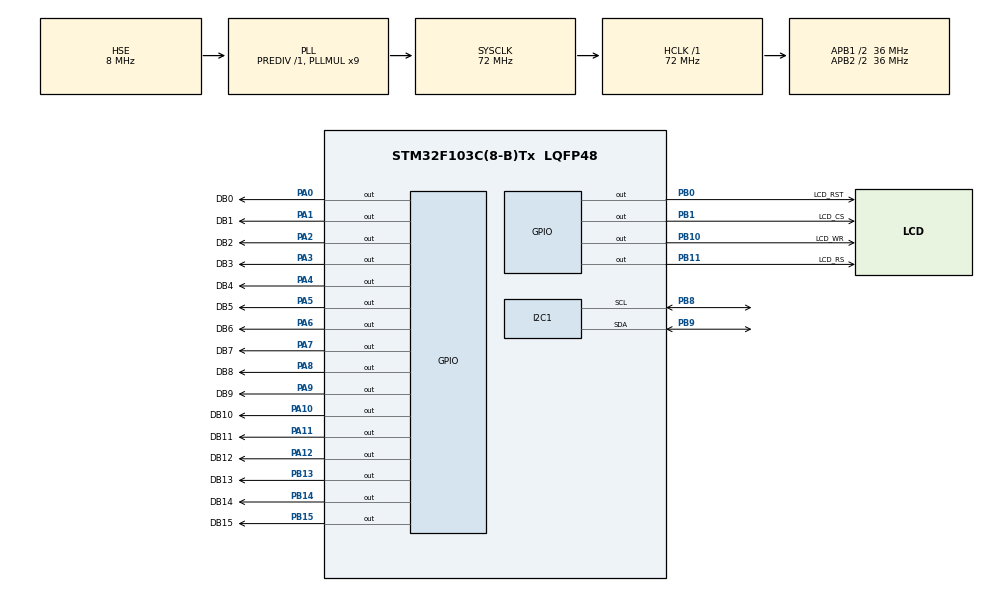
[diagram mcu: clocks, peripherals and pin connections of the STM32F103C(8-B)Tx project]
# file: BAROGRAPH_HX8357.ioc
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Mcu.Family=STM32F1
Mcu.Name=STM32F103C(8-B)Tx
Mcu.Package=LQFP48
NVIC.PriorityGroup=NVIC_PRIORITYGROUP_4
PA0-WKUP.GPIO_Label=DB0
PA0-WKUP.Signal=GPIO_Output
PA1.GPIO_Label=DB1
PA1.Signal=GPIO_Output
PA10.GPIO_Label=DB10
PA10.Signal=GPIO_Output
PA11.GPIO_Label=DB11
PA11.Signal=GPIO_Output
PA12.GPIO_Label=DB12
PA12.Signal=GPIO_Output
PA13.Mode=Serial_Wire
PA13.Signal=SYS_JTMS-SWDIO
PA14.Mode=Serial_Wire
PA14.Signal=SYS_JTCK-SWCLK
PA2.GPIO_Label=DB2
PA2.Signal=GPIO_Output
PA3.GPIO_Label=DB3
PA3.Signal=GPIO_Output
PA4.GPIO_Label=DB4
PA4.Signal=GPIO_Output
PA5.GPIO_Label=DB5
PA5.Signal=GPIO_Output
PA6.GPIO_Label=DB6
PA6.Signal=GPIO_Output
PA7.GPIO_Label=DB7
PA7.Signal=GPIO_Output
PA8.GPIO_Label=DB8
PA8.Signal=GPIO_Output
PA9.GPIO_Label=DB9
PA9.Signal=GPIO_Output
PB0.GPIO_Label=LCD_RST
PB0.Signal=GPIO_Output
PB1.GPIO_Label=LCD_CS
PB1.Signal=GPIO_Output
PB10.GPIO_Label=LCD_WR
PB10.Signal=GPIO_Output
PB11.GPIO_Label=LCD_RS
PB11.Signal=GPIO_Output
PB13.GPIO_Label=DB13
PB13.Signal=GPIO_Output
PB14.GPIO_Label=DB14
PB14.Signal=GPIO_Output
PB15.GPIO_Label=DB15
PB15.Signal=GPIO_Output
PB8.GPIO_Pu=GPIO_PULLUP
PB8.Mode=I2C
PB8.Signal=I2C1_SCL
PB9.GPIO_Pu=GPIO_PULLUP
PB9.Mode=I2C
PB9.Signal=I2C1_SDA
PD0-OSC_IN.Mode=HSE-External-Oscillator
PD0-OSC_IN.Signal=RCC_OSC_IN
PD1-OSC_OUT.Mode=HSE-External-Oscillator
PD1-OSC_OUT.Signal=RCC_OSC_OUT
ProjectManager.HeapSize=0x200
ProjectManager.StackSize=0x400
ProjectManager.TargetToolchain=STM32CubeIDE
RCC.AHBFreq_Value=72000000
RCC.APB1CLKDivider=RCC_HCLK_DIV2
RCC.APB1Freq_Value=36000000
RCC.APB1TimFreq_Value=72000000
RCC.APB2CLKDivider=RCC_HCLK_DIV2
RCC.APB2Freq_Value=36000000
RCC.APB2TimFreq_Value=72000000
RCC.HCLKFreq_Value=72000000
RCC.PLLMUL=RCC_PLL_MUL9
RCC.PLLSourceVirtual=RCC_PLLSOURCE_HSE
RCC.SYSCLKFreq_VALUE=72000000
RCC.SYSCLKSource=RCC_SYSCLKSOURCE_PLLCLK
RCC.USBFreq_Value=72000000
board=custom

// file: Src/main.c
/* USER CODE BEGIN Header */
/**
  ******************************************************************************
  * @file           : main.c
  * @brief          : Main program body
  ******************************************************************************
  * @attention
  *
  * Copyright (c) 2024 STMicroelectronics.
  * All rights reserved.
  *
  * This software is licensed under terms that can be found in the LICENSE file
  * in the root directory of this software component.
  * If no LICENSE file comes with this software, it is provided AS-IS.
  *
  ******************************************************************************
  */
/* USER CODE END Header */
#include "main.h"

/* USER CODE BEGIN Includes */
#include "hx8357.h"
#include "bme280.h"
#include "ds3231.h"

#include "fonts/Font_3_Tiny.h"
#include "fonts/Font_3_PicoPixel.h"
#include "fonts/Font_3_TomThumb_Extended.h"
#include "fonts/Font_5_Org.h"
#include "fonts/Font_8_Sinclair.h"
#include "fonts/Font_8_Sinclair_Inverted.h"
#include "fonts/Font_8_Tiny.h"
#include "fonts/Font_8_Myke.h"
#include "fonts/Font_8_Default.h"
#include "fonts/Font_8_Retro.h"
#include "fonts/Font_9_Mono.h"
#include "fonts/Font_9_Mono_Bold.h"
#include "fonts/Font_9_Mono_Bold_Oblique.h"
#include "fonts/Font_9_Mono_Oblique.h"
#include "fonts/Font_9_Sans.h"
#include "fonts/Font_9_Sans_Bold.h"
#include "fonts/Font_9_Sans_Bold_Oblique.h"
#include "fonts/Font_9_Sans_Oblique.h"
#include "fonts/Font_9_Serif.h"
#include "fonts/Font_9_Serif_Bold.h"
#include "fonts/Font_9_Serif_Bold_Italic.h"
#include "fonts/Font_9_Serif_Italic.h"
#include "fonts/Font_12_Mono.h"
#include "fonts/Font_12_Mono_Bold.h"
#include "fonts/Font_12_Mono_Bold_Oblique.h"
#include "fonts/Font_12_Mono_Oblique.h"
#include "fonts/Font_12_Sans.h"
#include "fonts/Font_12_Sans_Bold.h"
#include "fonts/Font_12_Sans_Bold_Oblique.h"
#include "fonts/Font_12_Sans_Oblique.h"
#include "fonts/Font_12_Serif.h"
#include "fonts/Font_12_Serif_Bold.h"
#include "fonts/Font_12_Serif_Bold_Italic.h"
#include "fonts/Font_12_Serif_Italic.h"
#include "fonts/Font_16_Arial.h"
#include "fonts/Font_16_Arial_Bold.h"
#include "fonts/Font_16_Arial_Italic.h"
#include "fonts/Font_16_Default.h"
#include "fonts/Font_16_FranklinGothic.h"
#include "fonts/Font_16_Hallfetica.h"
#include "fonts/Font_16_Nadianne.h"
#include "fonts/Font_16_Sinclair.h"
#include "fonts/Font_16_Sinclair_Inverted.h"
#include "fonts/Font_16_Swiss_Outline.h"
#include "fonts/Font_16_Matrix_Full.h"
#include "fonts/Font_16_Matrix_Full_Slash.h"
#include "fonts/Font_16_Matrix_Num.h"
#include "fonts/Font_16_Arial_Round.h"
#include "fonts/Font_16_OCR.h"
#include "fonts/Font_16_Segment_16_Full.h"
#include "fonts/Font_16_Grotesk.h"
#include "fonts/Font_16_Grotesk_Bold.h"
#include "fonts/Font_16_Retro.h"
#include "fonts/Font_18_Mono.h"
#include "fonts/Font_18_Mono_Bold.h"
#include "fonts/Font_18_Mono_Bold_Oblique.h"
#include "fonts/Font_18_Mono_Oblique.h"
#include "fonts/Font_18_Sans.h"
#include "fonts/Font_18_Sans_Bold.h"
#include "fonts/Font_18_Sans_Bold_Oblique.h"
#include "fonts/Font_18_Sans_Oblique.h"
#include "fonts/Font_18_Serif.h"
#include "fonts/Font_18_Serif_Bold.h"
#include "fonts/Font_18_Serif_Bold_Italic.h"
#include "fonts/Font_18_Serif_Italic.h"
#include "fonts/Font_24_Matrix_Num.h"
#include "fonts/Font_24_Inconsola.h"
#include "fonts/Font_24_Ubuntu.h"
#include "fonts/Font_24_Ubuntu_Bold.h"
#include "fonts/Font_24_Segment_16_Full.h"
#include "fonts/Font_24_Mono.h"
#include "fonts/Font_24_Mono_Bold.h"
#include "fonts/Font_24_Mono_Bold_Oblique.h"
#include "fonts/Font_24_Mono_Oblique.h"
#include "fonts/Font_24_Grotesk.h"
#include "fonts/Font_24_Grotesk_Bold.h"
#include "fonts/Font_24_Sans.h"
#include "fonts/Font_24_Sans_Bold.h"
#include "fonts/Font_24_Sans_Bold_Oblique.h"
#include "fonts/Font_24_Sans_Oblique.h"
#include "fonts/Font_24_Serif.h"
#include "fonts/Font_24_Serif_Bold.h"
#include "fonts/Font_24_Serif_Bold_Italic.h"
#include "fonts/Font_24_SerifItalic.h"
#include "fonts/Font_32_Dingbats.h"
#include "fonts/Font_32_Special.h"
#include "fonts/Font_32_Calibri_Bold.h"
#include "fonts/Font_32_Arial_Num_Plus.h"
#include "fonts/Font_32_Matrix_Num.h"
#include "fonts/Font_32_Segment_7_Full.h"
#include "fonts/Font_32_Segment_7_Num_Plus.h"
#include "fonts/Font_32_Segment_16_Full.h"
#include "fonts/Font_32_Segment_18_Full.h"
#include "fonts/Font_32_Grotesk.h"
#include "fonts/Font_32_Grotesk_Bold.h"
#include "fonts/Font_40_Segment_16_Full.h"
#include "fonts/Font_48_Battery.h"
#include "fonts/Font_48_Segment_16_Num.h"
#include "fonts/Font_64_Segment_16_Num.h"
#include "fonts/Font_64_Segment_7_Num.h"
//#include "fonts/Font_96_Segment_7_Num.h"
//#include "fonts/Font_96_Segment_16_Num.h"
//#include "fonts/Font_128_Segment_16_Num.h"
/* USER CODE END Includes */

I2C_HandleTypeDef hi2c1;

/* USER CODE BEGIN PV */

uint8_t  rtcSet = 1, clearEEPROM = 0, barographViewed = 0, sound = 1, printAlarm = 0, alarm1 = 0;
uint8_t rtcSec, rtcMin, rtcHrs, rtcDay, rtcDate, rtcMonth, rtcYear,
rtcSecA1, rtcMinA1, rtcHrsA1, rtcDayA1, rtcDateA1, rtcMinA2, rtcHrsA2, rtcDayA2, rtcDateA2;
uint16_t touchX, touchY;
uint8_t rtcSecLast = 61, rtcMinLast = 61, rtcHrsLast = 25, rtcDayLast, rtcDateLast, rtcMonthLast, rtcYearLast;
uint16_t pressure, pressureLast;
double temperatureLast, humidityLast, temperature, humidity,
temperatureRemote, temperatureRemoteLast, humidityRemote, humidityRemoteLast, rtcMoon, rtcMoonLast;
uint64_t startHistory;

uint16_t barographHourly[367] = { 25 };
uint16_t barographDaily[367];
uint16_t barographMinimum = 0, barographMaximum = 0, barographAverage = 0;

//float temperature = 0.0, humidity = 0.0, pressure = 0.0;

uint8_t sec = 0, min = 0, hour = 0, day = 0, date = 0, month = 0, year = 0, a1sec = 0, a1min = 0, a1hour = 0, a1day = 0, a1date = 0, a2min = 0, a2hour = 0, a2day = 0, a2date = 0,
power = 0, set = 0, temperatureAfterpoint;

uint64_t milliseconds, updateRTC, updateUART;
/* USER CODE END PV */

void SystemClock_Config(void);
static void MX_GPIO_Init(void);
static void MX_I2C1_Init(void);

/* USER CODE BEGIN 0 */
/*uint8_t rtcBuffer[19];

	uint8_t data[] = "UART OK\n";
	uint8_t rx_index = 0;
	uint8_t rx_data;
	uint8_t rx_buffer[256];

	void HAL_UART_RxCpltCallback(UART_HandleTypeDef *huart)
	{
		uint8_t i;
		if (huart->Instance == USART1)
		{
			if (rx_index == 0)
			{
				for (i = 0; i < 255; i++)
				{
					rx_buffer[i] = 0;
				}
			}
			rx_buffer[rx_index++] = rx_data;

	HAL_UART_Receive_IT(&huart1, &rx_data, 1);
		}
	}

	void relayLight(void)
{
		if (hour == a1hour && min == a1min) power = 1;
		if (hour == a2hour && min == a2min) power = 0;

			if (!power)
			{
			HAL_GPIO_WritePin(GPIOC, GPIO_PIN_13, GPIO_PIN_SET);
			HD44780_SetPos(0, 10);
			HD44780_SendChar(' ');
			HD44780_SetPos(1, 10);
			HD44780_SendChar('>');
			}
			else
			{
			HAL_GPIO_WritePin(GPIOC, GPIO_PIN_13, GPIO_PIN_RESET);
			HD44780_SetPos(0, 10);
			HD44780_SendChar('>');
			HD44780_SetPos(1, 10);
			HD44780_SendChar(' ');
			}
} */
/* USER CODE END 0 */

int main(void)
{

  /* MCU Configuration--------------------------------------------------------*/

  /* Reset of all peripherals, Initializes the Flash interface and the Systick. */
  HAL_Init();

  /* Configure the system clock */
  SystemClock_Config();

  /* Initialize all configured peripherals */
  MX_GPIO_Init();
  MX_I2C1_Init();
  /* USER CODE BEGIN 2 */

	LCD_Init();
	BME280_Init();
	LCD_Rect_Fill(0, 0, 480, 320, BLUE);
	LCD_Rect_Fill(1, 1, 478, 318, BLACK);

//	HAL_Delay(250);
	LCD_Rect_Fill(0, 0, 160, 128, BLACK);
	for(uint8_t x = 8; x <= 160; x += 8)
	{
		LCD_Line(0, 0, x, 128, 1, GREEN);
	}
	for(uint8_t y = 8; y <= 128; y += 8) {
		LCD_Line(0, 0, 160, y, 1, GREEN);
	}
	HAL_Delay(250);

	uint8_t h = 16;
	uint8_t w = 20;
	for(uint8_t i = 0; i < 8; i++)
	{
		LCD_Rect(80 - w / 2, 64 - h / 2, w, h, 2, YELLOW);
		h += 16;
		w += 20;
	}
	HAL_Delay(250);
	LCD_Rect_Fill(0, 0, 160, 128, BLUE);
	LCD_Rect_Fill(1, 1, 158, 126, BLACK);
	LCD_Font(5, 40, "This is\n just a Test\n TomThumb Ext\n", _3_TomThumb_Extended, 1, YELLOW);
	LCD_Line(23, 20, 137, 20, 1, MAGENTA);
	LCD_Line(23, 21, 137, 21, 1, BLUE);
	LCD_Line(23, 21, 137, 21, 1, BLUE);
	LCD_Font(41, 10, "DISPLAY DRIVER", _5_Org, 1, MAGENTA);
	LCD_Font(45, 35, "SERIF BOLD", _9_Serif_Bold, 1, RED);
	LCD_Circle(40, 90, 30, 0, 1, RED);
	LCD_Circle(45, 90, 20, 1, 1, BLUE);
	LCD_Triangle_Fill(5, 5, 5, 20, 25, 25, BLUE);
	LCD_Triangle(5, 5, 5, 20, 25, 25, 1, RED);
	LCD_Rect(60, 45, 30, 20, 2, GREEN);
	LCD_Rect_Round(80, 70, 60, 25, 10, 3, WHITE);
	LCD_Rect_Round_Fill(80, 100, 60, 25, 10, WHITE);
	LCD_Ellipse(60, 100, 30, 20, 0, 2, YELLOW);
	LCD_Ellipse(125, 60, 25, 15, 1, 1, YELLOW);
	LCD_Font(0, 200, "1234567890", _32_Segment_7_Num_Plus, 1, RED);
	LCD_Font(10, 220, "1234567890 Default Font", _8_Default, 1, RED);
  /* USER CODE END 2 */

  /* Infinite loop */
  /* USER CODE BEGIN WHILE */
  while (1)
  {

	DS3231_Update();
	rtcSec = DS3231_getSec();
	rtcMin = DS3231_getMin();
	rtcHrs = DS3231_getHrs();
	rtcDay = DS3231_getDay();
	rtcDate = DS3231_getDate();
	rtcMonth = DS3231_getMonth();
	rtcYear = DS3231_getYear();
	//		rtcSecA1 = DS3231_getAlarm1Sec();
	rtcMinA1 = DS3231_getAlarm1Min();
	rtcHrsA1 = DS3231_getAlarm1Hour();
	//		rtcDayA1 = DS3231_getAlarm1Day();
	//		rtcDateA1 = DS3231_getAlarm1Date();
	//		rtcMinA2 = DS3231_getAlarm2Min();
	//		rtcHrsA2 = DS3231_getAlarm2Hour();
	//		rtcDayA2 = DS3231_getAlarm2Day();
	//		rtcDateA2 = DS3231_getAlarm2Date();

	temperature = BME280_getTemperature(-1);
	humidity = BME280_getHumidity(-1);
	pressure = (uint16_t)BME280_getPressure();
	HAL_Delay(1000);
    /* USER CODE END WHILE */

  }
}

void SystemClock_Config(void)
{
  RCC_OscInitTypeDef RCC_OscInitStruct = {0};
  RCC_ClkInitTypeDef RCC_ClkInitStruct = {0};

  /** Initializes the RCC Oscillators according to the specified parameters
  * in the RCC_OscInitTypeDef structure.
  */
  RCC_OscInitStruct.OscillatorType = RCC_OSCILLATORTYPE_HSE;
  RCC_OscInitStruct.HSEState = RCC_HSE_ON;
  RCC_OscInitStruct.HSEPredivValue = RCC_HSE_PREDIV_DIV1;
  RCC_OscInitStruct.HSIState = RCC_HSI_ON;
  RCC_OscInitStruct.PLL.PLLState = RCC_PLL_ON;
  RCC_OscInitStruct.PLL.PLLSource = RCC_PLLSOURCE_HSE;
  RCC_OscInitStruct.PLL.PLLMUL = RCC_PLL_MUL9;
  if (HAL_RCC_OscConfig(&RCC_OscInitStruct) != HAL_OK)
  {
    Error_Handler();
  }

  /** Initializes the CPU, AHB and APB buses clocks
  */
  RCC_ClkInitStruct.ClockType = RCC_CLOCKTYPE_HCLK|RCC_CLOCKTYPE_SYSCLK
                              |RCC_CLOCKTYPE_PCLK1|RCC_CLOCKTYPE_PCLK2;
  RCC_ClkInitStruct.SYSCLKSource = RCC_SYSCLKSOURCE_PLLCLK;
  RCC_ClkInitStruct.AHBCLKDivider = RCC_SYSCLK_DIV1;
  RCC_ClkInitStruct.APB1CLKDivider = RCC_HCLK_DIV2;
  RCC_ClkInitStruct.APB2CLKDivider = RCC_HCLK_DIV2;

  if (HAL_RCC_ClockConfig(&RCC_ClkInitStruct, FLASH_LATENCY_2) != HAL_OK)
  {
    Error_Handler();
  }
}

static void MX_I2C1_Init(void)
{

  hi2c1.Instance = I2C1;
  hi2c1.Init.ClockSpeed = 100000;
  hi2c1.Init.DutyCycle = I2C_DUTYCYCLE_2;
  hi2c1.Init.OwnAddress1 = 0;
  hi2c1.Init.AddressingMode = I2C_ADDRESSINGMODE_7BIT;
  hi2c1.Init.DualAddressMode = I2C_DUALADDRESS_DISABLE;
  hi2c1.Init.OwnAddress2 = 0;
  hi2c1.Init.GeneralCallMode = I2C_GENERALCALL_DISABLE;
  hi2c1.Init.NoStretchMode = I2C_NOSTRETCH_DISABLE;
  if (HAL_I2C_Init(&hi2c1) != HAL_OK)
  {
    Error_Handler();
  }

}

static void MX_GPIO_Init(void)
{
  GPIO_InitTypeDef GPIO_InitStruct = {0};

  /* GPIO Ports Clock Enable */
  __HAL_RCC_GPIOD_CLK_ENABLE();
  __HAL_RCC_GPIOA_CLK_ENABLE();
  __HAL_RCC_GPIOB_CLK_ENABLE();

  /*Configure GPIO pin Output Level */
  HAL_GPIO_WritePin(GPIOA, DB0_Pin|DB1_Pin|DB2_Pin|DB3_Pin
                          |DB4_Pin|DB5_Pin|DB6_Pin|DB7_Pin
                          |DB8_Pin|DB9_Pin|DB10_Pin|DB11_Pin
                          |DB12_Pin, GPIO_PIN_RESET);

  /*Configure GPIO pin Output Level */
  HAL_GPIO_WritePin(GPIOB, LCD_RST_Pin|LCD_CS_Pin|LCD_WR_Pin|LCD_RS_Pin
                          |DB13_Pin|DB14_Pin|DB15_Pin, GPIO_PIN_RESET);

  /*Configure GPIO pins : DB0_Pin DB1_Pin DB2_Pin DB3_Pin
                           DB4_Pin DB5_Pin DB6_Pin DB7_Pin
                           DB8_Pin DB9_Pin DB10_Pin DB11_Pin
                           DB12_Pin */
  GPIO_InitStruct.Pin = DB0_Pin|DB1_Pin|DB2_Pin|DB3_Pin
                          |DB4_Pin|DB5_Pin|DB6_Pin|DB7_Pin
                          |DB8_Pin|DB9_Pin|DB10_Pin|DB11_Pin
                          |DB12_Pin;
  GPIO_InitStruct.Mode = GPIO_MODE_OUTPUT_PP;
  GPIO_InitStruct.Pull = GPIO_NOPULL;
  GPIO_InitStruct.Speed = GPIO_SPEED_FREQ_LOW;
  HAL_GPIO_Init(GPIOA, &GPIO_InitStruct);

  /*Configure GPIO pins : LCD_RST_Pin LCD_CS_Pin LCD_WR_Pin LCD_RS_Pin
                           DB13_Pin DB14_Pin DB15_Pin */
  GPIO_InitStruct.Pin = LCD_RST_Pin|LCD_CS_Pin|LCD_WR_Pin|LCD_RS_Pin
                          |DB13_Pin|DB14_Pin|DB15_Pin;
  GPIO_InitStruct.Mode = GPIO_MODE_OUTPUT_PP;
  GPIO_InitStruct.Pull = GPIO_NOPULL;
  GPIO_InitStruct.Speed = GPIO_SPEED_FREQ_LOW;
  HAL_GPIO_Init(GPIOB, &GPIO_InitStruct);

}

void Error_Handler(void)
{
  __disable_irq();
  while (1)
  {
  }
}
